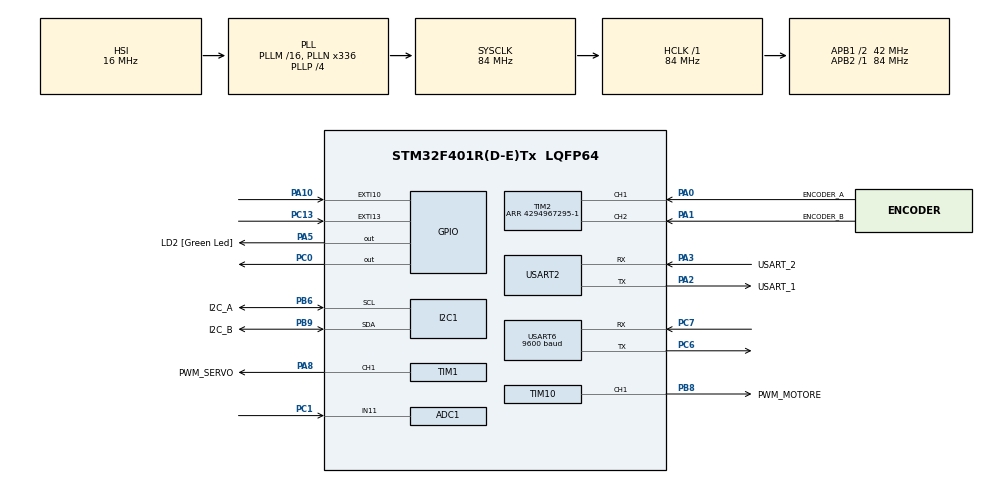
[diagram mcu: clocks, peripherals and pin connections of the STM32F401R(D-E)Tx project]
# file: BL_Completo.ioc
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ADC1.Channel-0\#ChannelRegularConversion=ADC_CHANNEL_11
ADC1.NbrOfConversionFlag=1
ADC1.Rank-0\#ChannelRegularConversion=1
ADC1.SamplingTime-0\#ChannelRegularConversion=ADC_SAMPLETIME_3CYCLES
ADC1.master=1
I2C1.I2C_Mode=I2C_Standard
I2C1.OwnAddress=0
Mcu.Family=STM32F4
Mcu.Name=STM32F401R(D-E)Tx
Mcu.Package=LQFP64
NVIC.EXTI15_10_IRQn=true\:0\:0\:false\:false\:true\:true\:true\:true
NVIC.PriorityGroup=NVIC_PRIORITYGROUP_0
NVIC.TIM1_BRK_TIM9_IRQn=true\:0\:0\:false\:false\:true\:true\:true\:true
NVIC.TIM1_TRG_COM_TIM11_IRQn=true\:0\:0\:false\:false\:true\:true\:true\:true
PA0-WKUP.GPIO_Label=ENCODER_A
PA0-WKUP.Signal=S_TIM2_CH1_ETR
PA1.GPIO_Label=ENCODER_B
PA1.Signal=S_TIM2_CH2
PA10.Signal=GPXTI10
PA13.GPIO_Label=TMS
PA13.Mode=Serial_Wire
PA13.Signal=SYS_JTMS-SWDIO
PA14.GPIO_Label=TCK
PA14.Mode=Serial_Wire
PA14.Signal=SYS_JTCK-SWCLK
PA2.GPIO_Label=USART_1
PA2.Mode=Asynchronous
PA2.Signal=USART2_TX
PA3.GPIO_Label=USART_2
PA3.Mode=Asynchronous
PA3.Signal=USART2_RX
PA5.GPIO_Label=LD2 [Green Led]
PA5.Signal=GPIO_Output
PA8.GPIO_Label=PWM_SERVO
PA8.Signal=S_TIM1_CH1
PB3.GPIO_Label=SWO
PB3.Signal=SYS_JTDO-SWO
PB6.GPIO_Label=I2C_A
PB6.Mode=I2C
PB6.Signal=I2C1_SCL
PB8.GPIO_Label=PWM_MOTORE
PB8.Signal=S_TIM10_CH1
PB9.GPIO_Label=I2C_B
PB9.Mode=I2C
PB9.Signal=I2C1_SDA
PC0.Signal=GPIO_Output
PC1.Signal=ADCx_IN11
PC13-ANTI_TAMP.GPIO_ModeDefaultEXTI=GPIO_MODE_IT_RISING_FALLING
PC13-ANTI_TAMP.Signal=GPXTI13
PC14-OSC32_IN.Mode=LSE-External-Oscillator
PC14-OSC32_IN.Signal=RCC_OSC32_IN
PC15-OSC32_OUT.Mode=LSE-External-Oscillator
PC15-OSC32_OUT.Signal=RCC_OSC32_OUT
PC6.Mode=Asynchronous
PC6.Signal=USART6_TX
PC7.Mode=Asynchronous
PC7.Signal=USART6_RX
PH0\ -\ OSC_IN.Mode=HSE-External-Clock-Source
PH0\ -\ OSC_IN.Signal=RCC_OSC_IN
PH1\ -\ OSC_OUT.Mode=HSE-External-Clock-Source
PH1\ -\ OSC_OUT.Signal=RCC_OSC_OUT
ProjectManager.HeapSize=0x200
ProjectManager.StackSize=0x400
ProjectManager.TargetToolchain=STM32CubeIDE
RCC.48MHZClocksFreq_Value=48000000
RCC.AHBFreq_Value=84000000
RCC.APB1CLKDivider=RCC_HCLK_DIV2
RCC.APB1Freq_Value=42000000
RCC.APB1TimFreq_Value=84000000
RCC.APB2Freq_Value=84000000
RCC.APB2TimFreq_Value=84000000
RCC.CortexFreq_Value=84000000
RCC.HCLKFreq_Value=84000000
RCC.HSE_VALUE=8000000
RCC.HSI_VALUE=16000000
RCC.PLLN=336
RCC.PLLP=RCC_PLLP_DIV4
RCC.PLLQ=7
RCC.SYSCLKFreq_VALUE=84000000
RCC.SYSCLKSource=RCC_SYSCLKSOURCE_PLLCLK
RCC.VCOOutputFreq_Value=336000000
SH.ADCx_IN11.0=ADC1_IN11,IN11
SH.S_TIM10_CH1.0=TIM10_CH1,PWM Generation1 CH1
SH.S_TIM1_CH1.0=TIM1_CH1,PWM Generation1 CH1
SH.S_TIM2_CH1_ETR.0=TIM2_CH1,Encoder_Interface
SH.S_TIM2_CH2.0=TIM2_CH2,Encoder_Interface
TIM1.Channel-PWM\ Generation1\ CH1=TIM_CHANNEL_1
TIM1.Period=1001-1
TIM1.Prescaler=1681-1
TIM1.Pulse-PWM\ Generation1\ CH1=0
TIM10.Channel=TIM_CHANNEL_1
TIM10.Period=2000-1
TIM10.Prescaler=840-1
TIM10.Pulse=0
TIM11.Period=7000-1
TIM11.Prescaler=120-1
TIM2.EncoderMode=TIM_ENCODERMODE_TI12
TIM2.IC1Filter=0
TIM2.Period=4294967295-1
USART2.VirtualMode=VM_ASYNC
USART6.BaudRate=9600
USART6.Mode=MODE_RX
USART6.OverSampling=UART_OVERSAMPLING_8
USART6.VirtualMode=VM_ASYNC
USART6.WordLength=WORDLENGTH_8B
VP_TIM10_VS_ClockSourceINT.Mode=Enable_Timer
VP_TIM11_VS_ClockSourceINT.Mode=Enable_Timer
VP_TIM1_VS_ClockSourceINT.Mode=Internal
board=NUCLEO-F401RE

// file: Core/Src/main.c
/* USER CODE BEGIN Header */
/**
 ******************************************************************************
 * @file           : main.c
 * @brief          : Main program body
 ******************************************************************************
 * @attention
 *
 * Copyright (c) 2023 STMicroelectronics.
 * All rights reserved.
 *
 * This software is licensed under terms that can be found in the LICENSE file
 * in the root directory of this software component.
 * If no LICENSE file comes with this software, it is provided AS-IS.
 *
 ******************************************************************************
 */
/* USER CODE END Header */
#include "main.h"

/* USER CODE BEGIN Includes */
#include <stdlib.h>
#include <stdbool.h>
#include "math.h"

#include "Configuration.h"
#include "bno055_stm32.h"
#include "servo_motor.h"
#include "BL_motor.h"
#include "PID.h"
#include "Raspberry_UART.h"
#include "manovre.h"
/* USER CODE END Includes */

/* USER CODE BEGIN PTD */
typedef struct SerialData {
	int flag;
	/*
	 * 1: Lanekeeping
	 * 2: Segue una curva
	 * 3: Sorpasso
	 * 4: Parcheggio
	 * 5: Cambiamento velcità
	 * 6: spostamento lineare di n metri
	 */

	float curvature_radius_ref_m; // [m]
	float linear_speed_ref_m_s; //[m/s]

	//Manovra
	float dy; //[m]
	float dx; //[m]

	//Stop
	float distanza_frenata; //[m]
	float old_linear_speed_ref_m_s; //[m/s]
} serialData;

typedef struct VehicleData {
	//Trazione
	int counts;
	int ref_count;
	int delta_count;
	float delta_angle_deg; // [°]
	float motor_speed_deg_sec; // [°/s]
	float motor_speed_RPM; // RPM
	float linear_speed_m_s; //[m/s]
	float motor_speed_ref_RPM; // RPM

	//Sterzo
	double yaw_rate_rad_sec; // [rad/s]
	double yaw_rate_deg_sec; // [°/s]
	double yaw_rate_ref_rad_sec; //[rad/s]
	double x_acceleration;
} vehicleData;
/* USER CODE END PTD */

/* USER CODE BEGIN PD */
#define MAX_VALUES 6
/* USER CODE END PD */

ADC_HandleTypeDef hadc1;

I2C_HandleTypeDef hi2c1;

TIM_HandleTypeDef htim1;
TIM_HandleTypeDef htim2;
TIM_HandleTypeDef htim10;
TIM_HandleTypeDef htim11;

UART_HandleTypeDef huart2;
UART_HandleTypeDef huart6;

/* USER CODE BEGIN PV */

serialData data;
vehicleData vehicleState;

//PID
PID pid_traction, pid_traction_RWD, pid_traction_DESC, pid_steering, pid_steering_STR;
float u_trazione = 0;
float u_sterzo = 0;

//Event control
int max_flag_button; //Definisce quanti click diversi del pulsante posso fare
int flag_button = 0; //Gestisce le premute del pulsante
int flag_10ms = 0; //Temporizzazione per l'encoder e la trazione
int flag_serial_read; //Serve per fermare la lettura della seriale

//Parcheggio
float tempo_salita_pid;
float cnt_manovre = 0; //Conta il tempo che passa durante la manovra, usato nella formula
int flag_ingresso_parcheggio = 0;
	/* flag_ingresso_parcheggio
	 * 0: Muoviti avanti
	 * 1: Parcheggia
	 * 2: Sistemati dentro il parcheggio
	 */
int flag_uscita_parcheggio = 0;
	/* flag_uscita_parcheggio
	 * 0: Sistemati dentro il parcheggio
	 * 1: Esci dal parchegigo
	 */

//Accelerazione e decellerazione
float current_linear_speed_ref_m_s;
int cambiamento_velocita = 0;

//Rampa
int flag_discesa = 0;

//Procedura per eseguire percorso
int flag_procedura = 0;
int cnt_procedura = 0;

//User button press
uint32_t buttonPressStartTime = 0;
uint32_t buttonPressEndTime = 0;
uint32_t pressDuration = 0;
uint32_t cnt_10ms_button = 0; //Aumenta indefinitamente ogni 10ms

//Variabili per calibrazione ESC
int counter_cal_ESC = 0;
float duty;

//Serial input var
uint8_t msg[45] = { "\0" };
float floatArray[MAX_VALUES];
int flag_controllo = 0;
int flag_msg_ok = 1;

//Comunicazione interrupt
uint8_t app[2] = {'\0'};
int stato_rx = 0;
int msg_len = 0;
int rx_complete = 0;
int pt_rx = 0;

//Conversione velocità
float RPM_2_m_s = ((2 * M_PI / 60) * WHEEL_RADIUS / MOTOR_REVOLUTION_FOR_ONE_WHEEL_REVOLUTION) / DIFFERENTIAL_GEARBOX_RATIO;

/* USER CODE END PV */

void SystemClock_Config(void);
static void MX_GPIO_Init(void);
static void MX_I2C1_Init(void);
static void MX_TIM1_Init(void);
static void MX_TIM10_Init(void);
static void MX_TIM11_Init(void);
static void MX_USART2_UART_Init(void);
static void MX_TIM2_Init(void);
static void MX_USART6_UART_Init(void);
static void MX_ADC1_Init(void);
/* USER CODE BEGIN PFP */
//void CheckPressDuration();
void ProceduraCalibrazione();
void lettura_vel_encoder();
void controllo_trazione(float, float);
void lane_keeping();
void ingresso_parcheggio();
void uscita_parcheggio();
void parcheggio();
void get_inclination();
void get_yaw_rate();
float valore_assoluto(float);
void cambio_velocita(float);
void muoviti_n_metri_dritto(float, float);
void sistemazione_parcheggio(float, float);
void cambio_corsia();
void PrintState();
void lettura_seriale();
void procedura();
void next_procedura(float);
/* USER CODE END PFP */

/* USER CODE BEGIN 0 */
/*
void HAL_UART_RxCpltCallback(UART_HandleTypeDef *huart) {
	if (huart->Instance == USART6) {
		// Abilita la ricezione di un altro carattere
		HAL_UART_Receive_IT(&huart6, msg, sizeof(msg));
		printf("Ciao\r\n");
		//PrintState();
	}
}
*/
/* USER CODE END 0 */

int main(void)
{

  /* MCU Configuration--------------------------------------------------------*/

  /* Reset of all peripherals, Initializes the Flash interface and the Systick. */
  HAL_Init();

  /* Configure the system clock */
  SystemClock_Config();

  /* Initialize all configured peripherals */
  MX_GPIO_Init();
  MX_I2C1_Init();
  MX_TIM1_Init();
  MX_TIM10_Init();
  MX_TIM11_Init();
  MX_USART2_UART_Init();
  MX_TIM2_Init();
  MX_USART6_UART_Init();
  MX_ADC1_Init();
  /* USER CODE BEGIN 2 */

	//PWM Servo
	HAL_TIM_PWM_Start(&htim1, TIM_CHANNEL_1);
	//PWM DC motor
	HAL_TIM_PWM_Start(&htim10, TIM_CHANNEL_1);
	//ENCODER TIMER
	HAL_TIM_Encoder_Start(&htim2, TIM_CHANNEL_ALL);
	//10ms TIMER
	HAL_TIM_Base_Start_IT(&htim11);

	//PID traction
	init_PID(&pid_traction, TRACTION_SAMPLING_TIME, MAX_U_TRACTION, MIN_U_TRACTION);
	tune_PID(&pid_traction, KP_TRACTION, KI_TRACTION, 0);

	init_PID(&pid_traction_RWD, TRACTION_SAMPLING_TIME, MAX_U_TRACTION, MIN_U_TRACTION);
	tune_PID(&pid_traction_RWD, KP_TRACTION_RWD, KI_TRACTION_RWD, 0);

	init_PID(&pid_traction_DESC, TRACTION_SAMPLING_TIME, MAX_U_TRACTION, MIN_U_TRACTION);
	tune_PID(&pid_traction_DESC, KP_TRACTION_DESC, KI_TRACTION_DESC, 0);

	//PID steering per le curve
	init_PID(&pid_steering, STEERING_SAMPLING_TIME, MAX_U_STEERING, MIN_U_STEERING);
	tune_PID(&pid_steering, KP_STEERING, KI_STEERING, 0);

	//PID steering per le curve
	//init_PID(&pid_steering_STR, STEERING_SAMPLING_TIME, MAX_U_STEERING, MIN_U_STEERING);
	//tune_PID(&pid_steering_STR, KP_STEERING_STR, KI_STEERING_STR, 0);

	// IMU BNO055 config
	HAL_I2C_IsDeviceReady(&hi2c1, BNO055_I2C_ADDR << 1, 5, 1000);
	bno055_assignI2C(&hi2c1);
	bno055_setup();
	bno055_setOperationModeNDOF();

	servo_motor(0);
	data.flag = 6;
	flag_serial_read = 1;

	printf("Initialization Completed!\r\n");

	//HAL_UART_Receive_IT(&huart6, (uint8_t*)(msg + msg_index), 1);
	HAL_UART_Receive_IT(&huart6, app, 1);

  /* USER CODE END 2 */

  /* Infinite loop */
	while (1) {

    /* USER CODE BEGIN 3 */

		//printf("Ciclo while\r\n");
		//-------------------------------------------------------------

		//-------------------------------------------------------------
		//GESTIONE PULSANTE
		max_flag_button = 3;

		switch(flag_button){
		//Calibrazione
		case -1:
			data.flag = -1;
			ProceduraCalibrazione();
			break;
			//Idle
		case 0:
			HAL_GPIO_WritePin(GPIOA, GPIO_PIN_5, GPIO_PIN_RESET);
			data.flag = 4;
			data.linear_speed_ref_m_s = -0.20; //[m/s]
			data.curvature_radius_ref_m = 1.05; // [m]
			data.dy = 0.35; //[m]
			data.dx = 1.00; //[m]
			data.distanza_frenata = 0; //[m]
			data.old_linear_speed_ref_m_s = 0; //[m]
			//data.flag= 6;
			break;
		case 1:
			HAL_GPIO_WritePin(GPIOA, GPIO_PIN_5, GPIO_PIN_RESET);

			data.flag = 1;
			data.linear_speed_ref_m_s = 0.00; //[m/s]
			data.curvature_radius_ref_m = 10; // [m]
			data.dy = 0.35; //[m]
			data.dx = 1.00; //[m]
			data.distanza_frenata = 0; //[m]
			data.old_linear_speed_ref_m_s = 0; //[m]

			if(cnt_manovre >= 100){
				cnt_manovre = 0;
				flag_button = 3;
			}
			break;
		case 2:
			if(flag_discesa){
				HAL_GPIO_WritePin(GPIOA, GPIO_PIN_5, GPIO_PIN_RESET);
			} else{
				HAL_GPIO_WritePin(GPIOA, GPIO_PIN_5, GPIO_PIN_SET);
			}

			//lettura_seriale();
			//PrintState();
			break;
		case 3:
			if(flag_discesa){
				HAL_GPIO_WritePin(GPIOA, GPIO_PIN_5, GPIO_PIN_SET);
			} else{
				HAL_GPIO_WritePin(GPIOA, GPIO_PIN_5, GPIO_PIN_RESET);
			}

			data.flag = 4;
			data.linear_speed_ref_m_s = -0.20; //[m/s]
			data.curvature_radius_ref_m = 1.05; // [m]
			data.dy = 0.35; //[m]
			data.dx = 1.00; //[m]
			data.distanza_frenata = 0; //[m]
			data.old_linear_speed_ref_m_s = 0; //[m]
			break;
		}

		//-------------------------------------------------------------
		//PERCORSO AUTOMATICO
		if(flag_button == 3){
			procedura();
		}

		//-------------------------------------------------------------
		//CONTROLLO
		if (data.flag > 0 && data.flag < 6) {
			if (flag_10ms == 1) { //Car enabled from user
				flag_10ms = 0;

				//Measure speed with encoder
				lettura_vel_encoder();

				//TRACTION control
				switch (data.flag){
				case 1:
				case 2:
				case 3:
					controllo_trazione(vehicleState.motor_speed_RPM, data.linear_speed_ref_m_s / RPM_2_m_s);
					break;
				case 5:
					cambio_velocita(data.distanza_frenata);
					break;
				}

				//-------------------------------------------------------------

				get_yaw_rate();
				get_inclination();

				//STEERING control
				switch (data.flag){
				case 3:
					cambio_corsia();
					break;
				case 4:
					parcheggio();
					break;
				case 1:
				case 2:
				case 5:
					lane_keeping();
					break;
				}
			//printf("%f;%f\r\n", u_trazione, vehicleState.linear_speed_m_s);
		}
	} else if (data.flag == 6)
	{
		BL_set_PWM(NEUTRAL_PWM);
		servo_motor(0);
	}

	//-------------------------------------------------------------

}
  /* USER CODE END 3 */
}

void SystemClock_Config(void)
{
  RCC_OscInitTypeDef RCC_OscInitStruct = {0};
  RCC_ClkInitTypeDef RCC_ClkInitStruct = {0};

  /** Configure the main internal regulator output voltage
  */
  __HAL_RCC_PWR_CLK_ENABLE();
  __HAL_PWR_VOLTAGESCALING_CONFIG(PWR_REGULATOR_VOLTAGE_SCALE2);

  /** Initializes the RCC Oscillators according to the specified parameters
  * in the RCC_OscInitTypeDef structure.
  */
  RCC_OscInitStruct.OscillatorType = RCC_OSCILLATORTYPE_HSI;
  RCC_OscInitStruct.HSIState = RCC_HSI_ON;
  RCC_OscInitStruct.HSICalibrationValue = RCC_HSICALIBRATION_DEFAULT;
  RCC_OscInitStruct.PLL.PLLState = RCC_PLL_ON;
  RCC_OscInitStruct.PLL.PLLSource = RCC_PLLSOURCE_HSI;
  RCC_OscInitStruct.PLL.PLLM = 16;
  RCC_OscInitStruct.PLL.PLLN = 336;
  RCC_OscInitStruct.PLL.PLLP = RCC_PLLP_DIV4;
  RCC_OscInitStruct.PLL.PLLQ = 7;
  if (HAL_RCC_OscConfig(&RCC_OscInitStruct) != HAL_OK)
  {
    Error_Handler();
  }

  /** Initializes the CPU, AHB and APB buses clocks
  */
  RCC_ClkInitStruct.ClockType = RCC_CLOCKTYPE_HCLK|RCC_CLOCKTYPE_SYSCLK
                              |RCC_CLOCKTYPE_PCLK1|RCC_CLOCKTYPE_PCLK2;
  RCC_ClkInitStruct.SYSCLKSource = RCC_SYSCLKSOURCE_PLLCLK;
  RCC_ClkInitStruct.AHBCLKDivider = RCC_SYSCLK_DIV1;
  RCC_ClkInitStruct.APB1CLKDivider = RCC_HCLK_DIV2;
  RCC_ClkInitStruct.APB2CLKDivider = RCC_HCLK_DIV1;

  if (HAL_RCC_ClockConfig(&RCC_ClkInitStruct, FLASH_LATENCY_2) != HAL_OK)
  {
    Error_Handler();
  }
}

static void MX_ADC1_Init(void)
{

  ADC_ChannelConfTypeDef sConfig = {0};

  /** Configure the global features of the ADC (Clock, Resolution, Data Alignment and number of conversion)
  */
  hadc1.Instance = ADC1;
  hadc1.Init.ClockPrescaler = ADC_CLOCK_SYNC_PCLK_DIV4;
  hadc1.Init.Resolution = ADC_RESOLUTION_12B;
  hadc1.Init.ScanConvMode = DISABLE;
  hadc1.Init.ContinuousConvMode = DISABLE;
  hadc1.Init.DiscontinuousConvMode = DISABLE;
  hadc1.Init.ExternalTrigConvEdge = ADC_EXTERNALTRIGCONVEDGE_NONE;
  hadc1.Init.ExternalTrigConv = ADC_SOFTWARE_START;
  hadc1.Init.DataAlign = ADC_DATAALIGN_RIGHT;
  hadc1.Init.NbrOfConversion = 1;
  hadc1.Init.DMAContinuousRequests = DISABLE;
  hadc1.Init.EOCSelection = ADC_EOC_SINGLE_CONV;
  if (HAL_ADC_Init(&hadc1) != HAL_OK)
  {
    Error_Handler();
  }

  /** Configure for the selected ADC regular channel its corresponding rank in the sequencer and its sample time.
  */
  sConfig.Channel = ADC_CHANNEL_11;
  sConfig.Rank = 1;
  sConfig.SamplingTime = ADC_SAMPLETIME_3CYCLES;
  if (HAL_ADC_ConfigChannel(&hadc1, &sConfig) != HAL_OK)
  {
    Error_Handler();
  }

}

static void MX_I2C1_Init(void)
{

  hi2c1.Instance = I2C1;
  hi2c1.Init.ClockSpeed = 100000;
  hi2c1.Init.DutyCycle = I2C_DUTYCYCLE_2;
  hi2c1.Init.OwnAddress1 = 0;
  hi2c1.Init.AddressingMode = I2C_ADDRESSINGMODE_7BIT;
  hi2c1.Init.DualAddressMode = I2C_DUALADDRESS_DISABLE;
  hi2c1.Init.OwnAddress2 = 0;
  hi2c1.Init.GeneralCallMode = I2C_GENERALCALL_DISABLE;
  hi2c1.Init.NoStretchMode = I2C_NOSTRETCH_DISABLE;
  if (HAL_I2C_Init(&hi2c1) != HAL_OK)
  {
    Error_Handler();
  }

}

static void MX_TIM1_Init(void)
{

  TIM_ClockConfigTypeDef sClockSourceConfig = {0};
  TIM_MasterConfigTypeDef sMasterConfig = {0};
  TIM_OC_InitTypeDef sConfigOC = {0};
  TIM_BreakDeadTimeConfigTypeDef sBreakDeadTimeConfig = {0};

  htim1.Instance = TIM1;
  htim1.Init.Prescaler = 1681-1;
  htim1.Init.CounterMode = TIM_COUNTERMODE_UP;
  htim1.Init.Period = 1001-1;
  htim1.Init.ClockDivision = TIM_CLOCKDIVISION_DIV1;
  htim1.Init.RepetitionCounter = 0;
  htim1.Init.AutoReloadPreload = TIM_AUTORELOAD_PRELOAD_DISABLE;
  if (HAL_TIM_Base_Init(&htim1) != HAL_OK)
  {
    Error_Handler();
  }
  sClockSourceConfig.ClockSource = TIM_CLOCKSOURCE_INTERNAL;
  if (HAL_TIM_ConfigClockSource(&htim1, &sClockSourceConfig) != HAL_OK)
  {
    Error_Handler();
  }
  if (HAL_TIM_PWM_Init(&htim1) != HAL_OK)
  {
    Error_Handler();
  }
  sMasterConfig.MasterOutputTrigger = TIM_TRGO_RESET;
  sMasterConfig.MasterSlaveMode = TIM_MASTERSLAVEMODE_DISABLE;
  if (HAL_TIMEx_MasterConfigSynchronization(&htim1, &sMasterConfig) != HAL_OK)
  {
    Error_Handler();
  }
  sConfigOC.OCMode = TIM_OCMODE_PWM1;
  sConfigOC.Pulse = 0;
  sConfigOC.OCPolarity = TIM_OCPOLARITY_HIGH;
  sConfigOC.OCNPolarity = TIM_OCNPOLARITY_HIGH;
  sConfigOC.OCFastMode = TIM_OCFAST_DISABLE;
  sConfigOC.OCIdleState = TIM_OCIDLESTATE_RESET;
  sConfigOC.OCNIdleState = TIM_OCNIDLESTATE_RESET;
  if (HAL_TIM_PWM_ConfigChannel(&htim1, &sConfigOC, TIM_CHANNEL_1) != HAL_OK)
  {
    Error_Handler();
  }
  sBreakDeadTimeConfig.OffStateRunMode = TIM_OSSR_DISABLE;
  sBreakDeadTimeConfig.OffStateIDLEMode = TIM_OSSI_DISABLE;
  sBreakDeadTimeConfig.LockLevel = TIM_LOCKLEVEL_OFF;
  sBreakDeadTimeConfig.DeadTime = 0;
  sBreakDeadTimeConfig.BreakState = TIM_BREAK_DISABLE;
  sBreakDeadTimeConfig.BreakPolarity = TIM_BREAKPOLARITY_HIGH;
  sBreakDeadTimeConfig.AutomaticOutput = TIM_AUTOMATICOUTPUT_DISABLE;
  if (HAL_TIMEx_ConfigBreakDeadTime(&htim1, &sBreakDeadTimeConfig) != HAL_OK)
  {
    Error_Handler();
  }
  HAL_TIM_MspPostInit(&htim1);

}

static void MX_TIM2_Init(void)
{

  TIM_Encoder_InitTypeDef sConfig = {0};
  TIM_MasterConfigTypeDef sMasterConfig = {0};

  htim2.Instance = TIM2;
  htim2.Init.Prescaler = 0;
  htim2.Init.CounterMode = TIM_COUNTERMODE_UP;
  htim2.Init.Period = 4294967295-1;
  htim2.Init.ClockDivision = TIM_CLOCKDIVISION_DIV1;
  htim2.Init.AutoReloadPreload = TIM_AUTORELOAD_PRELOAD_DISABLE;
  sConfig.EncoderMode = TIM_ENCODERMODE_TI12;
  sConfig.IC1Polarity = TIM_ICPOLARITY_RISING;
  sConfig.IC1Selection = TIM_ICSELECTION_DIRECTTI;
  sConfig.IC1Prescaler = TIM_ICPSC_DIV1;
  sConfig.IC1Filter = 0;
  sConfig.IC2Polarity = TIM_ICPOLARITY_RISING;
  sConfig.IC2Selection = TIM_ICSELECTION_DIRECTTI;
  sConfig.IC2Prescaler = TIM_ICPSC_DIV1;
  sConfig.IC2Filter = 0;
  if (HAL_TIM_Encoder_Init(&htim2, &sConfig) != HAL_OK)
  {
    Error_Handler();
  }
  sMasterConfig.MasterOutputTrigger = TIM_TRGO_RESET;
  sMasterConfig.MasterSlaveMode = TIM_MASTERSLAVEMODE_DISABLE;
  if (HAL_TIMEx_MasterConfigSynchronization(&htim2, &sMasterConfig) != HAL_OK)
  {
    Error_Handler();
  }

}

static void MX_TIM10_Init(void)
{

  TIM_OC_InitTypeDef sConfigOC = {0};

  htim10.Instance = TIM10;
  htim10.Init.Prescaler = 840-1;
  htim10.Init.CounterMode = TIM_COUNTERMODE_UP;
  htim10.Init.Period = 2000-1;
  htim10.Init.ClockDivision = TIM_CLOCKDIVISION_DIV1;
  htim10.Init.AutoReloadPreload = TIM_AUTORELOAD_PRELOAD_DISABLE;
  if (HAL_TIM_Base_Init(&htim10) != HAL_OK)
  {
    Error_Handler();
  }
  if (HAL_TIM_PWM_Init(&htim10) != HAL_OK)
  {
    Error_Handler();
  }
  sConfigOC.OCMode = TIM_OCMODE_PWM1;
  sConfigOC.Pulse = 0;
  sConfigOC.OCPolarity = TIM_OCPOLARITY_HIGH;
  sConfigOC.OCFastMode = TIM_OCFAST_DISABLE;
  if (HAL_TIM_PWM_ConfigChannel(&htim10, &sConfigOC, TIM_CHANNEL_1) != HAL_OK)
  {
    Error_Handler();
  }
  HAL_TIM_MspPostInit(&htim10);

}

static void MX_TIM11_Init(void)
{

  htim11.Instance = TIM11;
  htim11.Init.Prescaler = 120-1;
  htim11.Init.CounterMode = TIM_COUNTERMODE_UP;
  htim11.Init.Period = 7000-1;
  htim11.Init.ClockDivision = TIM_CLOCKDIVISION_DIV1;
  htim11.Init.AutoReloadPreload = TIM_AUTORELOAD_PRELOAD_DISABLE;
  if (HAL_TIM_Base_Init(&htim11) != HAL_OK)
  {
    Error_Handler();
  }

}

static void MX_USART2_UART_Init(void)
{

  huart2.Instance = USART2;
  huart2.Init.BaudRate = 115200;
  huart2.Init.WordLength = UART_WORDLENGTH_8B;
  huart2.Init.StopBits = UART_STOPBITS_1;
  huart2.Init.Parity = UART_PARITY_NONE;
  huart2.Init.Mode = UART_MODE_TX_RX;
  huart2.Init.HwFlowCtl = UART_HWCONTROL_NONE;
  huart2.Init.OverSampling = UART_OVERSAMPLING_16;
  if (HAL_UART_Init(&huart2) != HAL_OK)
  {
    Error_Handler();
  }

}

static void MX_USART6_UART_Init(void)
{

  huart6.Instance = USART6;
  huart6.Init.BaudRate = 9600;
  huart6.Init.WordLength = UART_WORDLENGTH_8B;
  huart6.Init.StopBits = UART_STOPBITS_1;
  huart6.Init.Parity = UART_PARITY_NONE;
  huart6.Init.Mode = UART_MODE_RX;
  huart6.Init.HwFlowCtl = UART_HWCONTROL_NONE;
  huart6.Init.OverSampling = UART_OVERSAMPLING_8;
  if (HAL_UART_Init(&huart6) != HAL_OK)
  {
    Error_Handler();
  }

}

static void MX_GPIO_Init(void)
{
  GPIO_InitTypeDef GPIO_InitStruct = {0};

  /* GPIO Ports Clock Enable */
  __HAL_RCC_GPIOC_CLK_ENABLE();
  __HAL_RCC_GPIOH_CLK_ENABLE();
  __HAL_RCC_GPIOA_CLK_ENABLE();
  __HAL_RCC_GPIOB_CLK_ENABLE();

  /*Configure GPIO pin Output Level */
  HAL_GPIO_WritePin(GPIOC, GPIO_PIN_0, GPIO_PIN_RESET);

  /*Configure GPIO pin Output Level */
  HAL_GPIO_WritePin(LD2_GPIO_Port, LD2_Pin, GPIO_PIN_RESET);

  /*Configure GPIO pin : PC13 */
  GPIO_InitStruct.Pin = GPIO_PIN_13;
  GPIO_InitStruct.Mode = GPIO_MODE_IT_RISING_FALLING;
  GPIO_InitStruct.Pull = GPIO_NOPULL;
  HAL_GPIO_Init(GPIOC, &GPIO_InitStruct);

  /*Configure GPIO pin : PC0 */
  GPIO_InitStruct.Pin = GPIO_PIN_0;
  GPIO_InitStruct.Mode = GPIO_MODE_OUTPUT_PP;
  GPIO_InitStruct.Pull = GPIO_NOPULL;
  GPIO_InitStruct.Speed = GPIO_SPEED_FREQ_LOW;
  HAL_GPIO_Init(GPIOC, &GPIO_InitStruct);

  /*Configure GPIO pin : LD2_Pin */
  GPIO_InitStruct.Pin = LD2_Pin;
  GPIO_InitStruct.Mode = GPIO_MODE_OUTPUT_PP;
  GPIO_InitStruct.Pull = GPIO_NOPULL;
  GPIO_InitStruct.Speed = GPIO_SPEED_FREQ_LOW;
  HAL_GPIO_Init(LD2_GPIO_Port, &GPIO_InitStruct);

  /*Configure GPIO pin : PA10 */
  GPIO_InitStruct.Pin = GPIO_PIN_10;
  GPIO_InitStruct.Mode = GPIO_MODE_IT_RISING;
  GPIO_InitStruct.Pull = GPIO_NOPULL;
  HAL_GPIO_Init(GPIOA, &GPIO_InitStruct);

  /* EXTI interrupt init*/
  HAL_NVIC_SetPriority(EXTI15_10_IRQn, 0, 0);
  HAL_NVIC_EnableIRQ(EXTI15_10_IRQn);

}

/* USER CODE BEGIN 4 */

//-------------------------------------------------------------
//Timer11 for temporization (10ms)
void HAL_TIM_PeriodElapsedCallback(TIM_HandleTypeDef *htim) {
	if (htim == &htim11) {
		flag_10ms = 1;

		//Encoder
		vehicleState.counts = TIM2->CNT;
		TIM2->CNT = TIM2->ARR / 2;

		//Variabile per la calibrazione
		cnt_10ms_button++;

		//Variabile per la manovra
		if(data.flag == 3 || data.flag == 4 || flag_button == 1){
			cnt_manovre++;
		}

		//Temporizzazione della calibrazione
		if(flag_button == -1){
			counter_cal_ESC++;
		}

		if(flag_button == 3){
			cnt_procedura++;
		}
	}
}

//-------------------------------------------------------------
//MISURAZIONI
void lettura_vel_encoder(){
	vehicleState.ref_count = TIM2->ARR / 2;
	vehicleState.delta_count = vehicleState.counts - vehicleState.ref_count;

	vehicleState.delta_angle_deg = (vehicleState.delta_count * 360) / ((double) (ENCODER_PPR * ENCODER_COUNTING_MODE * GEARBOX_RATIO));
	vehicleState.motor_speed_deg_sec = vehicleState.delta_angle_deg / ENCODER_SAMPLING_TIME;
	vehicleState.motor_speed_RPM = BL_DegreeSec2RPM(vehicleState.motor_speed_deg_sec);
	vehicleState.linear_speed_m_s = vehicleState.motor_speed_RPM * RPM_2_m_s;

	//Speed reference for motor
	vehicleState.motor_speed_ref_RPM = data.linear_speed_ref_m_s / RPM_2_m_s;
}

void get_yaw_rate()
{
	bno055_vector_t v = bno055_getVectorGyroscope();
	vehicleState.yaw_rate_deg_sec = v.z;
	vehicleState.yaw_rate_rad_sec = (vehicleState.yaw_rate_deg_sec * M_PI) / 180;
}

void get_inclination()
{
	bno055_vector_t u = bno055_getVectorGravity();
	vehicleState.x_acceleration = u.x;

	if(vehicleState.x_acceleration < -0.6){
		flag_discesa = 1;
	} else{
		flag_discesa = 0;
	}
	//printf("%d, %f\r\n", flag_discesa, vehicleState.x_acceleration);
}

void controllo_trazione(float v, float v_ref){
	//Fa la scelta tra il PID che va avanti e quello che va indietro
	if(v_ref >= 0){
		if(flag_discesa){
			u_trazione = PID_controller(&pid_traction_DESC, v, v_ref, NEUTRAL_PWM);
		} else {
			u_trazione = PID_controller(&pid_traction, v, v_ref, NEUTRAL_PWM);
		}
	} else{
		u_trazione = PID_controller(&pid_traction_RWD, v, v_ref, NEUTRAL_PWM);
	}

	BL_set_PWM(u_trazione);
}

//-------------------------------------------------------------
//LANE KEEPING
void lane_keeping()
{
/*
	if (valore_assoluto(data.curvature_radius_ref_m) >= MAX_CURVATURE_RADIUS_FOR_STRAIGHT)
	{
		//vehicleState.yaw_rate_ref_rad_sec = data.linear_speed_ref_m_s / data.curvature_radius_ref_m;
		//vehicleState.yaw_rate_ref_rad_sec = vehicleState.linear_speed_m_s / data.curvature_radius_ref_m;
		vehicleState.yaw_rate_ref_rad_sec = 0;
		u_sterzo = PID_controller(&pid_steering,vehicleState.yaw_rate_rad_sec, vehicleState.yaw_rate_ref_rad_sec, 0);
		servo_motor(-u_sterzo); //minus because yawrate and steering are opposite
		printf("DRITTO\r\n");
	} else
	{
		vehicleState.yaw_rate_ref_rad_sec = data.linear_speed_ref_m_s / data.curvature_radius_ref_m;
		//vehicleState.yaw_rate_ref_rad_sec = vehicleState.linear_speed_m_s / data.curvature_radius_ref_m;

		float yaw_rate_ref_rad_sec_abs = valore_assoluto(vehicleState.yaw_rate_ref_rad_sec);
		float yaw_rate_rad_sec_abs = valore_assoluto(vehicleState.yaw_rate_rad_sec);

		u_sterzo = PID_controller(&pid_steering, yaw_rate_rad_sec_abs, yaw_rate_ref_rad_sec_abs, 0);

		//minus because yawrate and steering are opposite
		if (data.curvature_radius_ref_m >= 0 && u_sterzo > 0)
			u_sterzo *= -1.0;
		if (data.curvature_radius_ref_m < 0 && u_sterzo < 0)
			u_sterzo *= -1.0;

		servo_motor(u_sterzo);
		printf("CURVA\r\n");
	}
*/

	vehicleState.yaw_rate_ref_rad_sec = data.linear_speed_ref_m_s / data.curvature_radius_ref_m;
	//vehicleState.yaw_rate_ref_rad_sec = vehicleState.linear_speed_m_s / data.curvature_radius_ref_m;

	float yaw_rate_ref_rad_sec_abs = valore_assoluto(vehicleState.yaw_rate_ref_rad_sec);
	float yaw_rate_rad_sec_abs = valore_assoluto(vehicleState.yaw_rate_rad_sec);

	u_sterzo = PID_controller(&pid_steering, yaw_rate_rad_sec_abs, yaw_rate_ref_rad_sec_abs, 0);

	//minus because yawrate and steering are opposite
	if (data.curvature_radius_ref_m >= 0 && u_sterzo > 0)
		u_sterzo *= -1.0;
	if (data.curvature_radius_ref_m < 0 && u_sterzo < 0)
		u_sterzo *= -1.0;

	servo_motor(u_sterzo);
	//printf("%f\r\n", vehicleState.yaw_rate_rad_sec);
	//printf("%f\r\n", u_sterzo);

}

//-------------------------------------------------------------
//PARCHEGGIO
void parcheggio()
{
	if (data.linear_speed_ref_m_s < 0)
	{ //Entro nel parcheggio
		switch (flag_ingresso_parcheggio){
		case 0:
			muoviti_n_metri_dritto(1.70, 0.20);
			break;
		case 1:
			ingresso_parcheggio();
			break;
		case 2:
			sistemazione_parcheggio(0.15, 0.20);
			break;
		}
	}
	else if (data.linear_speed_ref_m_s > 0) //Esco dal parcheggio
	{
		switch (flag_uscita_parcheggio){
		case 0:
			sistemazione_parcheggio(0.25, -0.20);
			break;
		case 1:
			uscita_parcheggio();
			break;
		}
	}
}

void ingresso_parcheggio(){

	vehicleState.yaw_rate_ref_rad_sec = calcolo_yaw_rate(data.dy, data.dx, data.linear_speed_ref_m_s, cnt_manovre/100);
	u_sterzo = PID_controller(&pid_steering, vehicleState.yaw_rate_rad_sec, vehicleState.yaw_rate_ref_rad_sec, 0);
	controllo_trazione(vehicleState.motor_speed_RPM, data.linear_speed_ref_m_s / RPM_2_m_s);
	//printf("%f; %f \r\n", vehicleState.yaw_rate_rad_sec, vehicleState.yaw_rate_ref_rad_sec);

	if(data.linear_speed_ref_m_s > 0)
	{
		servo_motor((int) -u_sterzo);
	}
	else
	{
		servo_motor((int) u_sterzo);
	}

	//Manovra finita, resetto tutto
	if(cnt_manovre/100 >= (CORREZIONE_LAMBDA*sqrt(data.dx*data.dx + data.dy*data.dy)/valore_assoluto(data.linear_speed_ref_m_s))+TEMPO_SALITA_PID_TRAZIONE_RWD)
	{
		cnt_manovre = 0;
		flag_ingresso_parcheggio++;
	}
}

void uscita_parcheggio(){

	vehicleState.yaw_rate_ref_rad_sec = calcolo_yaw_rate(data.dy, data.dx, data.linear_speed_ref_m_s, cnt_manovre/100);
	u_sterzo = PID_controller(&pid_steering, vehicleState.yaw_rate_rad_sec, vehicleState.yaw_rate_ref_rad_sec, 0);
	controllo_trazione(vehicleState.motor_speed_RPM, data.linear_speed_ref_m_s / RPM_2_m_s);
	//printf("%f;%f \r\n", vehicleState.yaw_rate_ref_rad_sec, vehicleState.yaw_rate_rad_sec);

	if(data.linear_speed_ref_m_s > 0)
	{
		servo_motor((int) -u_sterzo);
	}
	else
	{
		servo_motor((int) u_sterzo);
	}

	//Manovra finita, resetto tutto
	if(cnt_manovre/100 >= (CORREZIONE_LAMBDA*sqrt(data.dx*data.dx + data.dy*data.dy)/valore_assoluto(data.linear_speed_ref_m_s))+TEMPO_SALITA_PID_TRAZIONE)
	{
		cnt_manovre = 0;
		flag_uscita_parcheggio = 0;
		flag_serial_read = 1;
		data.flag = 1;
		flag_button = 2;
	}
}

//-------------------------------------------------------------
//MOVIMENTI CALCOLATI DRITTO
void muoviti_n_metri_dritto(float spostamento, float v){
	float t = spostamento/v;
	servo_motor(0);
	controllo_trazione(vehicleState.motor_speed_RPM, v/RPM_2_m_s);

	//Manovra finita, resetto tutto
	if(cnt_manovre/100 >= t){
		cnt_manovre = 0;
		//flag_serial_read = 0;
		flag_ingresso_parcheggio++;
		//data.flag = 4;
	}
}

void sistemazione_parcheggio(float spostamento, float v){
	float t = spostamento/v;
	servo_motor(0);
	controllo_trazione(vehicleState.motor_speed_RPM, v/RPM_2_m_s);
	//In base al verso di rotazione seleziono il tempo di salita del motore
	if(v > 0)
	{
		tempo_salita_pid = TEMPO_SALITA_PID_TRAZIONE;
	}
	else
	{
		tempo_salita_pid = TEMPO_SALITA_PID_TRAZIONE_RWD;
	}

	//Manovra finita, resetto tutto
	if(cnt_manovre/100 >= valore_assoluto(t+tempo_salita_pid)){
		if (v > 0){
			data.flag = 6;
			cnt_manovre = 0;
			flag_ingresso_parcheggio = 0;
			flag_serial_read = 1;
			flag_button = 0;
			//flag_ingresso_parcheggio = 0;
		}
		else if(v < 0){
			cnt_manovre = 0;
			flag_uscita_parcheggio++;
		}
	}
}

//-------------------------------------------------------------
//CAMBIO CORSIA
void cambio_corsia(){
	vehicleState.yaw_rate_ref_rad_sec = calcolo_yaw_rate(data.dy, data.dx, data.linear_speed_ref_m_s, cnt_manovre/100) + (data.linear_speed_ref_m_s/(data.curvature_radius_ref_m+valore_assoluto(data.dy)));
	u_sterzo = PID_controller(&pid_steering, vehicleState.yaw_rate_rad_sec, vehicleState.yaw_rate_ref_rad_sec, 0);

	if(data.linear_speed_ref_m_s > 0)
	{
		servo_motor((int) -u_sterzo);
	}
	else
	{
		servo_motor((int) u_sterzo);
	}

	//Manovra finita, resetto tutto
	if(cnt_manovre/100 >= (CORREZIONE_LAMBDA*sqrt(data.dx*data.dx + data.dy*data.dy)/valore_assoluto(data.linear_speed_ref_m_s)))
	{
		cnt_manovre = 0;
		flag_serial_read = 1;
		data.linear_speed_ref_m_s = -0.20;
	}
}

//-------------------------------------------------------------
//RALLENTAMENTO
// cambia il valore della velocita da un valore iniziale a uno finale in uno spazio stop_space definito
void cambio_velocita(float stop_space) {
	float acceleration = (data.linear_speed_ref_m_s*data.linear_speed_ref_m_s - data.old_linear_speed_ref_m_s*data.old_linear_speed_ref_m_s) / (2 * stop_space); // Accelerazione costante per fermarsi uniformemente

	if(flag_serial_read == 1)
	{
		current_linear_speed_ref_m_s = data.old_linear_speed_ref_m_s;
		flag_serial_read = 0;
	}
	else
	{
		// Calcola la nuova velocità e la nuova distanza percorsa
		current_linear_speed_ref_m_s += acceleration*TRACTION_SAMPLING_TIME;

		// Per smettere di decelerare
		if(data.linear_speed_ref_m_s - data.old_linear_speed_ref_m_s < 0)
		{
			if (current_linear_speed_ref_m_s <= data.linear_speed_ref_m_s)
			{
				//data.flag = 0; //data.flag = 1;
				cambiamento_velocita = 0;
			}
		}
		else
		// Per smettere di accelerare
		{
			if(current_linear_speed_ref_m_s >= data.linear_speed_ref_m_s)
			{
				//data.flag = 1; forse, dipende dal contesto
				flag_serial_read = 1;
			}

		}

		controllo_trazione(vehicleState.motor_speed_RPM, current_linear_speed_ref_m_s/RPM_2_m_s);
	}
}

//-------------------------------------------------------------
//PROCEDURA AUTOMATICA PER IL PERCORSO
void procedura(){
	switch(flag_procedura){
	case 0:
		data.flag = 4;
		data.dy = 0.35;
		data.dx = 0.90;
		//next_procedura()
		break;
	case 1:
		break;
	}
}

void next_procedura(float s){
	if(cnt_procedura == s){
		cnt_procedura = 0;
		flag_procedura++;
	}
}

//-------------------------------------------------------------
//BLUE user button
void HAL_GPIO_EXTI_Callback(uint16_t GPIO_Pin) {
	if (GPIO_Pin == GPIO_PIN_13) {
		if (HAL_GPIO_ReadPin(GPIOC, GPIO_PIN_13) == GPIO_PIN_RESET) { // Button pressed
			buttonPressStartTime = cnt_10ms_button;

		} else { // Button released
			buttonPressEndTime = cnt_10ms_button;

			//Verifico quantotemp ho tenuto premuto il tasto
			pressDuration = buttonPressEndTime - buttonPressStartTime;
			if (pressDuration < SHORT_PRESS_THRESHOLD)
			{
				if(flag_button >= 0 && flag_button < max_flag_button){
					flag_button++;
				}
				else
				{
					flag_button = 0;
				}
			} else if (pressDuration >= LONG_PRESS_THRESHOLD)
			{
				flag_button = -1;
				counter_cal_ESC = 0;
			}
		}
	}
	if(GPIO_Pin == GPIO_PIN_10){
		printf("letto interrupt \r\n");
	}
}

float valore_assoluto(float x)
{
	if(x < 0)
	{
		return -x;
	}
	else
	{
		return x;
	}
}

//-------------------------------------------------------------
//STAMPE
//USART2 -> ST_Link UART for DEBUG with USB (e.g. PUTTY)
int __io_putchar(int ch) {
	HAL_UART_Transmit(&huart2, (uint8_t*) &ch, 1, 0xFFFF);
	return ch;
}

void PrintState(){
	//printf("%s\r\n", msg);
	//printf("%d, %f, %f, %f, %f, %f \r\n", data.flag, data.linear_speed_ref_m_s, data.curvature_radius_ref_m, data.dy, data.dx, data.distanza_frenata);
}

//-------------------------------------------------------------
//LETTURA SERIALE
/*
void lettura_seriale(){
	if(flag_serial_read)
	{

		while(mainSerialRead(msg, sizeof(msg)) == 0);
		printf("%s\r\n", msg);

		parseCSV(msg, floatArray);
		data.flag = floatArray[0];
		data.linear_speed_ref_m_s = floatArray[1]; //[m/s]
		data.curvature_radius_ref_m = floatArray[2]; //m]
		data.dy = floatArray[3]; //[m]
		data.dx = floatArray[4]; //[m]
		data.distanza_frenata = floatArray[5]; //[m]
		printf("%d,%.2f,%.2f,%.2f,%.2f,%.2f \r\n", data.flag, data.linear_speed_ref_m_s, data.curvature_radius_ref_m, data.dy, data.dx, data.distanza_frenata);

		//Leggo messaggio in entrata
		while(mainSerialRead(msg, sizeof(msg)) == 0);

		//Interpreto il messaggio
		float floatArray[MAX_VALUES];
		parseCSV(msg, floatArray);

		//Assegnazione dei dati trasmessi
		flag_controllo = floatArray[0];

		if ((flag_controllo >= 1 && flag_controllo <= 6))
		{

			data.flag = flag_controllo;

			//Salvo la vecchia velocita per il rallentamento
			data.old_linear_speed_ref_m_s = data.linear_speed_ref_m_s; //[m/s]

			data.linear_speed_ref_m_s = floatArray[1]; //[m/s]

			if(floatArray[2] == 0){
				data.curvature_radius_ref_m = 10; // [m]
			} else {
				data.curvature_radius_ref_m = floatArray[2];
			}

			//Manovra
			data.dy = floatArray[3]; //[m]
			data.dx = floatArray[4]; //[m]

			//Rallentamento
			data.distanza_frenata = floatArray[5]; //[m]
		}
		//PrintState();

		//Ferma la lettura della seriale per non bloccare il parcheggio
		if(data.flag == 3 || data.flag == 4){
			flag_serial_read = 0;
		}
	}
}
*/
//-------------------------------------------------------------
//COMUNICAZIONE SERIALE IN INTERRUPT
void HAL_UART_RxCpltCallback(UART_HandleTypeDef *huart)
{
	if(app[0] == 's'){
		stato_rx = 1;
		msg_len = 0;
		pt_rx = 0;

		for(int j = 0; j < sizeof(msg); j++){
			msg[j] = '\0';
		}
	} else if (app[0] == '\n'){
		stato_rx = 0;
		rx_complete = 1; //Ho ricevuto tutto il messaggio
	} else {
		msg[pt_rx] = app[0];
		msg_len = pt_rx;
		pt_rx++;
	}

  HAL_UART_Receive_IT(&huart6, app, 1); //You need to toggle a breakpoint on this line!
  printf("%s", app);
}

//-------------------------------------------------------------
//CALIBRAZIONE
void ProceduraCalibrazione(){
	if(counter_cal_ESC < 5){
		HAL_GPIO_WritePin(GPIOE, GPIO_PIN_1, GPIO_PIN_RESET);
	}
	if(counter_cal_ESC <= 300){
		if(!(counter_cal_ESC % 15)){
			HAL_GPIO_TogglePin(GPIOA, GPIO_PIN_5);
		}
	}
	else if(counter_cal_ESC <= 600){
		duty = NEUTRAL_PWM;
		BL_set_PWM(duty);
		HAL_GPIO_WritePin(GPIOA, GPIO_PIN_5, GPIO_PIN_SET);
	}
	else if(counter_cal_ESC <= 900){
		duty = MAX_PWM;
		BL_set_PWM(duty);
		HAL_GPIO_WritePin(GPIOA, GPIO_PIN_5, GPIO_PIN_RESET);
	}
	else if(counter_cal_ESC <= 1100){
		duty = MIN_PWM;
		BL_set_PWM(duty);
		HAL_GPIO_WritePin(GPIOA, GPIO_PIN_5, GPIO_PIN_SET);
	}
	else if(counter_cal_ESC <= 1200){
		if(!(counter_cal_ESC % 15)){
			HAL_GPIO_TogglePin(GPIOA, GPIO_PIN_5);
		}
	}
	else if (counter_cal_ESC <= 1300){
		data.flag = 6;
		flag_button = 0;
	}
}

/* USER CODE END 4 */

void Error_Handler(void)
{
	__disable_irq();
	while (1) {
	}
}
